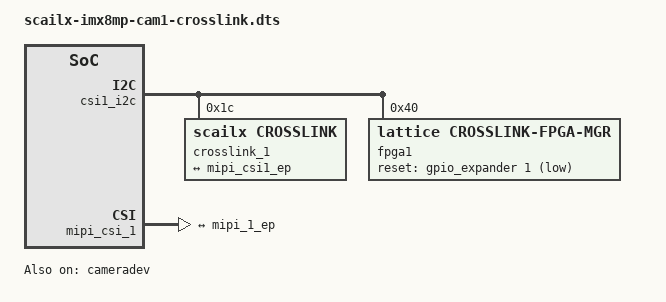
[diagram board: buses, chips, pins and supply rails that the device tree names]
// SPDX-License-Identifier: (GPL-2.0 OR MIT)
/*
 * Copyright (C) 2023 VideologyInc
 *
 */

/dts-v1/;
/plugin/;

#include <dt-bindings/clock/imx8mp-clock.h>
#include <dt-bindings/gpio/gpio.h>

&{/chosen} {
	overlays {
		cam1-crosslink = __TIMESTAMP__;
	};
};

&csi1_i2c {
	crosslink_1: crosslink_mipi_1@1c {
		compatible = "scailx,crosslink";
		reg = <0x1c>;
		csi_id = <1>;
		// reset-gpios = <&gpio_expander 1 GPIO_ACTIVE_LOW>;
		status = "okay";
		mipi_csi;

		port {
			mipi_1_ep: endpoint {
				remote-endpoint = <&mipi_csi1_ep>;
				data-lanes = <1 2 3 4>;
				clock-lanes = <0>;
			};
		};
	};
	fpga1: lattice-crosslink@40 {
		compatible = "lattice,crosslink-fpga-mgr";
		reg = <0x40>;
		reset-gpios = <&gpio_expander 1 GPIO_ACTIVE_LOW>;
	};
};

&mipi_csi_1 {
	#address-cells = <1>;
	#size-cells = <0>;
	clock-frequency = <500000000>;
	status = "okay";

	port@1 {
		reg = <1>;
		mipi_csi1_ep: endpoint {
			remote-endpoint = <&mipi_1_ep>;
			data-lanes = <4>;
			csis-hs-settle = <13>;
			csis-clk-settle = <2>;
			csis-wclk;
		};
	};
};

&cameradev {
	status = "okay";
};

